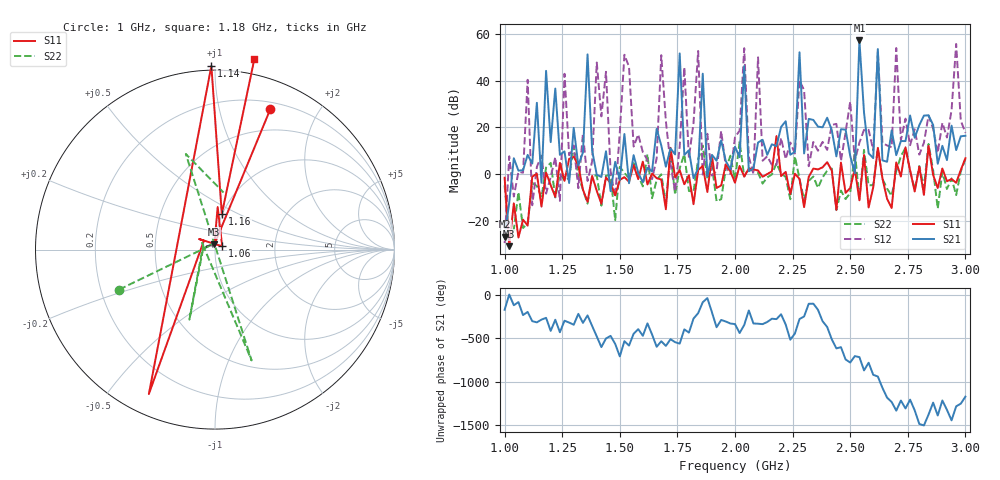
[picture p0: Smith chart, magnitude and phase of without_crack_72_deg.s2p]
# MHz S MA R 50
!  freq  S11  S21  S12  S22
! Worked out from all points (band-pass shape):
!   101 points, 1 GHz to 3 GHz, reference 50 ohm
!   highest |S21| = 57.19 dB at 2.54 GHz (marker M1); lowest = -26.8 dB at 1 GHz (marker M2)
!   |S21| within 3 dB of the highest: 2.538944 GHz to 2.541944 GHz (3 MHz wide, 0.118 % of centre)
!   lowest |S11| = -30.8 dB at 1.02 GHz (marker M3), VSWR 1.06, Z = 49.6 + j2.84 ohm
!   |S11| at or under -10 dB: 1.006 GHz to 1.111 GHz (105.7 MHz wide, 9.98 % of centre); 1.154 GHz to 1.165 GHz (10.86 MHz wide, 0.936 % of centre); 2.659 GHz to 2.685 GHz (25.75 MHz wide, 0.964 % of centre) (the widest 3 of 11)
!   |S22| runs from -27.7 to 13.9 dB; largest |S21 - S12| = 7.2e+02
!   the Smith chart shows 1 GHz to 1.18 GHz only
!   S11 on the Smith chart (normalised r, x): 1 GHz: 0.27, +1.43; 1.06 GHz: 1.08, +0.04; 1.14 GHz: -0.02, +0.98; 1.16 GHz: 0.99, +0.41; 1.18 GHz: -0.10, +1.22
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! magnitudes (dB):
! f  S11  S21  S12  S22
! 1 GHz  -1.5  -26.8  -29.5  -4.7
! 1.02 GHz  -30.8  -12.3  7.7  -27.7
! 1.06 GHz  -27.1  1.5  1.0  -7.6
! 1.14 GHz  0.2  30.5  3.1  -5.1
! 1.16 GHz  -13.9  -3.7  7.9  -9.8
! 1.18 GHz  0.7  44.2  -8.3  2.9
! 1.34 GHz  -6.7  9.3  17.4  -6.7
! 1.44 GHz  -1.3  9.8  43.8  -0.7
! 1.48 GHz  -9.1  5.3  -9.7  -19.7
! 1.52 GHz  -1.3  17.2  51.1  0.6
! 1.64 GHz  0.2  1.2  -2.2  -10.3
! 1.68 GHz  -2.3  12.3  50.9  0.0
! 1.74 GHz  -1.3  8.4  -7.4  -8.8
! 1.76 GHz  1.7  51.7  11.8  2.5
! 1.84 GHz  1.8  2.4  52.7  6.4
! 1.86 GHz  3.5  43.0  -0.2  12.2
! 2 GHz  -3.6  11.7  15.8  -2.5
! 2.34 GHz  2.4  23.2  13.8  -1.0
! 2.52 GHz  2.2  0.4  5.8  9.8
! 2.54 GHz  -11.2  57.2  13.5  -10.6
! 2.68 GHz  -14.5  18.8  11.5  -9.3
! 3 GHz  6.8  16.4  17.7  6.5
